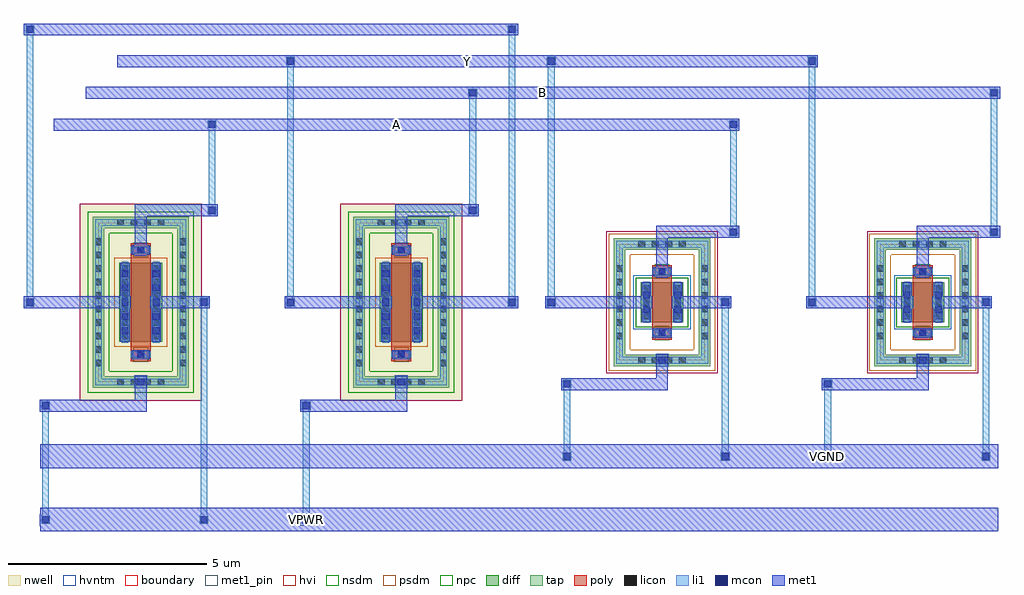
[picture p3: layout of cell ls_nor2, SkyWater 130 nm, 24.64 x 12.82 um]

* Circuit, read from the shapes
.subckt ls_nor2 A B VGND VPWR Y
XM1 VGND A Y VGND sky130_fd_pr__nfet_g5v0d10v5 w=1 l=0.5
XM2 VGND B Y VGND sky130_fd_pr__nfet_g5v0d10v5 w=1 l=0.5
XM3 VPWR A ls_nor2_XMPA_3/D VPWR sky130_fd_pr__pfet_g5v0d10v5 w=2 l=0.5
XM4 ls_nor2_XMPA_3/D B Y VPWR sky130_fd_pr__pfet_g5v0d10v5 w=2 l=0.5
.ends

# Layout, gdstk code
import gdstk
lib = gdstk.Library(unit=1e-6, precision=1e-09)
def R(c, l, rs):  # rectangles x0, y0, x1, y1
    for r in rs: c.add(gdstk.rectangle(r[:2], r[2:], *l))
def A(c, l, x, y, w, h, nx, ny, dx, dy):  # array of equal rectangles
    R(c, l, [(x+i*dx, y+j*dy, x+i*dx+w, y+j*dy+h) for i in range(nx) for j in range(ny)])
nwell = (64, 20)
diff = (65, 20)
tap = (65, 44)
poly = (66, 20)
licon = (66, 44)
li1 = (67, 20)
mcon = (67, 44)
met1_pin = (68, 16)
met1 = (68, 20)
hvi = (75, 20)
nsdm = (93, 44)
psdm = (94, 20)
npc = (95, 20)
hvntm = (125, 20)
boundary = (235, 4)

ls_nor2_xmnb = lib.new_cell('ls_nor2_XMNB')
R(ls_nor2_xmnb, diff, [(-0.54,-0.5,0.54,0.5)])
R(ls_nor2_xmnb, tap, [(-1.22,-1.61,1.22,-1.32), (-1.22,-1.32,-0.93,1.32), (0.93,-1.32,1.22,1.32), (-1.22,1.32,1.22,1.61)])
R(ls_nor2_xmnb, poly, [(-0.25,-0.94,0.25,0.94)])
A(ls_nor2_xmnb, licon, -0.595, -1.55, 0.17, 0.17, 4, 2, 0.34, 2.93)
A(ls_nor2_xmnb, licon, -1.16, -0.935, 0.17, 0.17, 1, 6, 0, 0.34)
A(ls_nor2_xmnb, licon, 0.99, -0.935, 0.17, 0.17, 1, 6, 0, 0.34)
A(ls_nor2_xmnb, licon, -0.48, -0.425, 0.17, 0.17, 1, 3, 0, 0.34)
A(ls_nor2_xmnb, licon, 0.31, -0.425, 0.17, 0.17, 1, 3, 0, 0.34)
R(ls_nor2_xmnb, licon, [(-0.085,-0.86,0.085,-0.69), (-0.085,0.69,0.085,0.86)])
R(ls_nor2_xmnb, li1, [(-0.165,-1.63,0.165,-1.55), (-1.16,-1.55,1.16,-1.38), (-1.16,-1.38,-0.99,1.38), (-0.165,-1.38,0.165,-1.3), (0.99,-1.38,1.16,1.38), (-0.25,-0.86,0.25,-0.69), (-0.48,-0.52,-0.31,0.52), (0.31,-0.52,0.48,0.52), (-0.25,0.69,0.25,0.86), (-1.16,1.38,1.16,1.55)])
R(ls_nor2_xmnb, mcon, [(-0.085,-1.55,0.085,-1.38), (-0.085,-0.86,0.085,-0.69), (-0.48,-0.265,-0.31,-0.095), (0.31,-0.265,0.48,-0.095), (-0.48,0.095,-0.31,0.265), (0.31,0.095,0.48,0.265), (-0.085,0.69,0.085,0.86)])
R(ls_nor2_xmnb, met1, [(-0.15,-1.615,0.15,-1.315), (-0.23,-0.89,0.23,-0.66), (-0.51,-0.5,-0.28,0.5), (0.28,-0.5,0.51,0.5), (-0.23,0.66,0.23,0.89)])
R(ls_nor2_xmnb, hvi, [(-1.405,-1.795,1.405,1.795)])
R(ls_nor2_xmnb, nsdm, [(-0.665,-0.625,0.665,0.625)])
R(ls_nor2_xmnb, psdm, [(-1.345,-1.735,1.345,-1.195), (-1.345,-1.195,-0.805,1.195), (0.805,-1.195,1.345,1.195), (-1.345,1.195,1.345,1.735)])
R(ls_nor2_xmnb, npc, [(-0.185,-0.96,0.185,-0.59), (-0.185,0.59,0.185,0.96)])
R(ls_nor2_xmnb, hvntm, [(-0.725,-0.685,0.725,0.685)])
R(ls_nor2_xmnb, boundary, [(-1.075,-1.465,1.075,1.465)])
ls_nor2_xmnb.add(gdstk.Label('B', (0,-1.465), layer=67, texttype=5))
ls_nor2_xmnb.add(gdstk.Label('D', (-0.395,0), layer=67, texttype=5))
ls_nor2_xmnb.add(gdstk.Label('S', (0.395,0), layer=67, texttype=5))
ls_nor2_xmnb.add(gdstk.Label('G', (0,0.775), layer=67, texttype=5))

ls_nor2_xmna = lib.new_cell('ls_nor2_XMNA')
R(ls_nor2_xmna, diff, [(-0.54,-0.5,0.54,0.5)])
R(ls_nor2_xmna, tap, [(-1.22,-1.61,1.22,-1.32), (-1.22,-1.32,-0.93,1.32), (0.93,-1.32,1.22,1.32), (-1.22,1.32,1.22,1.61)])
R(ls_nor2_xmna, poly, [(-0.25,-0.94,0.25,0.94)])
A(ls_nor2_xmna, licon, -0.595, -1.55, 0.17, 0.17, 4, 2, 0.34, 2.93)
A(ls_nor2_xmna, licon, -1.16, -0.935, 0.17, 0.17, 1, 6, 0, 0.34)
A(ls_nor2_xmna, licon, 0.99, -0.935, 0.17, 0.17, 1, 6, 0, 0.34)
A(ls_nor2_xmna, licon, -0.48, -0.425, 0.17, 0.17, 1, 3, 0, 0.34)
A(ls_nor2_xmna, licon, 0.31, -0.425, 0.17, 0.17, 1, 3, 0, 0.34)
R(ls_nor2_xmna, licon, [(-0.085,-0.86,0.085,-0.69), (-0.085,0.69,0.085,0.86)])
R(ls_nor2_xmna, li1, [(-0.165,-1.63,0.165,-1.55), (-1.16,-1.55,1.16,-1.38), (-1.16,-1.38,-0.99,1.38), (-0.165,-1.38,0.165,-1.3), (0.99,-1.38,1.16,1.38), (-0.25,-0.86,0.25,-0.69), (-0.48,-0.52,-0.31,0.52), (0.31,-0.52,0.48,0.52), (-0.25,0.69,0.25,0.86), (-1.16,1.38,1.16,1.55)])
R(ls_nor2_xmna, mcon, [(-0.085,-1.55,0.085,-1.38), (-0.085,-0.86,0.085,-0.69), (-0.48,-0.265,-0.31,-0.095), (0.31,-0.265,0.48,-0.095), (-0.48,0.095,-0.31,0.265), (0.31,0.095,0.48,0.265), (-0.085,0.69,0.085,0.86)])
R(ls_nor2_xmna, met1, [(-0.15,-1.615,0.15,-1.315), (-0.23,-0.89,0.23,-0.66), (-0.51,-0.5,-0.28,0.5), (0.28,-0.5,0.51,0.5), (-0.23,0.66,0.23,0.89)])
R(ls_nor2_xmna, hvi, [(-1.405,-1.795,1.405,1.795)])
R(ls_nor2_xmna, nsdm, [(-0.665,-0.625,0.665,0.625)])
R(ls_nor2_xmna, psdm, [(-1.345,-1.735,1.345,-1.195), (-1.345,-1.195,-0.805,1.195), (0.805,-1.195,1.345,1.195), (-1.345,1.195,1.345,1.735)])
R(ls_nor2_xmna, npc, [(-0.185,-0.96,0.185,-0.59), (-0.185,0.59,0.185,0.96)])
R(ls_nor2_xmna, hvntm, [(-0.725,-0.685,0.725,0.685)])
R(ls_nor2_xmna, boundary, [(-1.075,-1.465,1.075,1.465)])
ls_nor2_xmna.add(gdstk.Label('B', (0,-1.465), layer=67, texttype=5))
ls_nor2_xmna.add(gdstk.Label('D', (-0.395,0), layer=67, texttype=5))
ls_nor2_xmna.add(gdstk.Label('S', (0.395,0), layer=67, texttype=5))
ls_nor2_xmna.add(gdstk.Label('G', (0,0.775), layer=67, texttype=5))

ls_nor2_xmpb = lib.new_cell('ls_nor2_XMPB')
R(ls_nor2_xmpb, nwell, [(-1.54,-2.485,1.54,2.485)])
R(ls_nor2_xmpb, diff, [(-0.54,-1,0.54,1)])
R(ls_nor2_xmpb, tap, [(-1.21,-2.155,1.21,-1.865), (-1.21,-1.865,-0.92,1.865), (0.92,-1.865,1.21,1.865), (-1.21,1.865,1.21,2.155)])
R(ls_nor2_xmpb, poly, [(-0.25,-1.485,0.25,1.485)])
A(ls_nor2_xmpb, licon, -0.595, -2.095, 0.17, 0.17, 4, 2, 0.34, 4.02)
A(ls_nor2_xmpb, licon, -1.15, -1.615, 0.17, 0.17, 1, 10, 0, 0.34)
A(ls_nor2_xmpb, licon, 0.98, -1.615, 0.17, 0.17, 1, 10, 0, 0.34)
A(ls_nor2_xmpb, licon, -0.48, -0.935, 0.17, 0.17, 1, 6, 0, 0.34)
A(ls_nor2_xmpb, licon, 0.31, -0.935, 0.17, 0.17, 1, 6, 0, 0.34)
R(ls_nor2_xmpb, licon, [(-0.085,-1.405,0.085,-1.235), (-0.085,1.235,0.085,1.405)])
R(ls_nor2_xmpb, li1, [(-0.165,-2.175,0.165,-2.095), (-1.15,-2.095,1.15,-1.925), (-1.15,-1.925,-0.98,1.925), (-0.165,-1.925,0.165,-1.845), (0.98,-1.925,1.15,1.925), (-0.25,-1.405,0.25,-1.235), (-0.48,-1.02,-0.31,1.02), (0.31,-1.02,0.48,1.02), (-0.25,1.235,0.25,1.405), (-1.15,1.925,1.15,2.095)])
A(ls_nor2_xmpb, mcon, -0.48, -0.805, 0.17, 0.17, 1, 5, 0, 0.36)
A(ls_nor2_xmpb, mcon, 0.31, -0.805, 0.17, 0.17, 1, 5, 0, 0.36)
R(ls_nor2_xmpb, mcon, [(-0.085,-2.095,0.085,-1.925), (-0.085,-1.405,0.085,-1.235), (-0.085,1.235,0.085,1.405)])
R(ls_nor2_xmpb, met1, [(-0.15,-2.16,0.15,-1.86), (-0.23,-1.435,0.23,-1.205), (-0.51,-1,-0.28,1), (0.28,-1,0.51,1), (-0.23,1.205,0.23,1.435)])
R(ls_nor2_xmpb, hvi, [(-1.54,-2.485,1.54,2.485)])
R(ls_nor2_xmpb, nsdm, [(-1.335,-2.28,1.335,-1.74), (-1.335,-1.74,-0.795,1.74), (0.795,-1.74,1.335,1.74), (-1.335,1.74,1.335,2.28)])
R(ls_nor2_xmpb, psdm, [(-0.665,-1.125,0.665,1.125)])
R(ls_nor2_xmpb, npc, [(-0.185,-1.505,0.185,-1.135), (-0.185,1.135,0.185,1.505)])
R(ls_nor2_xmpb, boundary, [(-1.065,-2.01,1.065,2.01)])
ls_nor2_xmpb.add(gdstk.Label('B', (0,-2.01), layer=67, texttype=5))
ls_nor2_xmpb.add(gdstk.Label('D', (-0.395,0), layer=67, texttype=5))
ls_nor2_xmpb.add(gdstk.Label('S', (0.395,0), layer=67, texttype=5))
ls_nor2_xmpb.add(gdstk.Label('G', (0,1.32), layer=67, texttype=5))

ls_nor2_xmpa = lib.new_cell('ls_nor2_XMPA')
R(ls_nor2_xmpa, nwell, [(-1.54,-2.485,1.54,2.485)])
R(ls_nor2_xmpa, diff, [(-0.54,-1,0.54,1)])
R(ls_nor2_xmpa, tap, [(-1.21,-2.155,1.21,-1.865), (-1.21,-1.865,-0.92,1.865), (0.92,-1.865,1.21,1.865), (-1.21,1.865,1.21,2.155)])
R(ls_nor2_xmpa, poly, [(-0.25,-1.485,0.25,1.485)])
A(ls_nor2_xmpa, licon, -0.595, -2.095, 0.17, 0.17, 4, 2, 0.34, 4.02)
A(ls_nor2_xmpa, licon, -1.15, -1.615, 0.17, 0.17, 1, 10, 0, 0.34)
A(ls_nor2_xmpa, licon, 0.98, -1.615, 0.17, 0.17, 1, 10, 0, 0.34)
A(ls_nor2_xmpa, licon, -0.48, -0.935, 0.17, 0.17, 1, 6, 0, 0.34)
A(ls_nor2_xmpa, licon, 0.31, -0.935, 0.17, 0.17, 1, 6, 0, 0.34)
R(ls_nor2_xmpa, licon, [(-0.085,-1.405,0.085,-1.235), (-0.085,1.235,0.085,1.405)])
R(ls_nor2_xmpa, li1, [(-0.165,-2.175,0.165,-2.095), (-1.15,-2.095,1.15,-1.925), (-1.15,-1.925,-0.98,1.925), (-0.165,-1.925,0.165,-1.845), (0.98,-1.925,1.15,1.925), (-0.25,-1.405,0.25,-1.235), (-0.48,-1.02,-0.31,1.02), (0.31,-1.02,0.48,1.02), (-0.25,1.235,0.25,1.405), (-1.15,1.925,1.15,2.095)])
A(ls_nor2_xmpa, mcon, -0.48, -0.805, 0.17, 0.17, 1, 5, 0, 0.36)
A(ls_nor2_xmpa, mcon, 0.31, -0.805, 0.17, 0.17, 1, 5, 0, 0.36)
R(ls_nor2_xmpa, mcon, [(-0.085,-2.095,0.085,-1.925), (-0.085,-1.405,0.085,-1.235), (-0.085,1.235,0.085,1.405)])
R(ls_nor2_xmpa, met1, [(-0.15,-2.16,0.15,-1.86), (-0.23,-1.435,0.23,-1.205), (-0.51,-1,-0.28,1), (0.28,-1,0.51,1), (-0.23,1.205,0.23,1.435)])
R(ls_nor2_xmpa, hvi, [(-1.54,-2.485,1.54,2.485)])
R(ls_nor2_xmpa, nsdm, [(-1.335,-2.28,1.335,-1.74), (-1.335,-1.74,-0.795,1.74), (0.795,-1.74,1.335,1.74), (-1.335,1.74,1.335,2.28)])
R(ls_nor2_xmpa, psdm, [(-0.665,-1.125,0.665,1.125)])
R(ls_nor2_xmpa, npc, [(-0.185,-1.505,0.185,-1.135), (-0.185,1.135,0.185,1.505)])
R(ls_nor2_xmpa, boundary, [(-1.065,-2.01,1.065,2.01)])
ls_nor2_xmpa.add(gdstk.Label('B', (0,-2.01), layer=67, texttype=5))
ls_nor2_xmpa.add(gdstk.Label('D', (-0.395,0), layer=67, texttype=5))
ls_nor2_xmpa.add(gdstk.Label('S', (0.395,0), layer=67, texttype=5))
ls_nor2_xmpa.add(gdstk.Label('G', (0,1.32), layer=67, texttype=5))

ls_nor2 = lib.new_cell('ls_nor2')
A(ls_nor2, li1, 6.74, 6.595, 0.17, 5.865, 3, 1, 6.58, 0)
A(ls_nor2, li1, 6.715, 12.46, 0.22, 0.22, 3, 1, 6.58, 0)
R(ls_nor2, li1, [(0.53,0.89,0.75,1.11), (4.525,0.89,4.745,1.11), (7.11,0.89,7.33,1.11), (0.555,1.11,0.725,3.765), (4.55,1.11,4.72,6.375), (7.135,1.11,7.305,3.765), (13.69,2.49,13.91,2.71), (17.685,2.49,17.905,2.71), (20.27,2.49,20.49,2.71), (24.265,2.49,24.485,2.71), (13.715,2.71,13.885,4.31), (17.71,2.71,17.88,6.375), (20.295,2.71,20.465,4.31), (24.29,2.71,24.46,6.375), (0.53,3.765,0.75,3.985), (7.11,3.765,7.33,3.985), (13.69,4.31,13.91,4.53), (20.27,4.31,20.49,4.53), (0.135,6.375,0.355,6.595), (4.525,6.375,4.745,6.595), (6.715,6.375,6.935,6.595), (12.305,6.375,12.525,6.595), (13.295,6.375,13.515,6.595), (17.685,6.375,17.905,6.595), (19.875,6.375,20.095,6.595), (24.265,6.375,24.485,6.595), (0.16,6.595,0.33,13.26), (12.33,6.595,12.5,13.26), (17.89,8.15,18.11,8.37), (24.47,8.15,24.69,8.37), (17.915,8.37,18.085,10.86), (24.495,8.37,24.665,11.66), (4.73,8.695,4.95,8.915), (11.31,8.695,11.53,8.915), (4.755,8.915,4.925,10.86), (11.335,8.915,11.505,11.66), (4.73,10.86,4.95,11.08), (17.89,10.86,18.11,11.08), (11.31,11.66,11.53,11.88), (24.47,11.66,24.69,11.88), (0.135,13.26,0.355,13.48), (12.305,13.26,12.525,13.48)])
A(ls_nor2, mcon, 6.74, 12.485, 0.17, 0.17, 3, 1, 6.58, 0)
R(ls_nor2, mcon, [(0.555,0.915,0.725,1.085), (4.55,0.915,4.72,1.085), (7.135,0.915,7.305,1.085), (13.715,2.515,13.885,2.685), (17.71,2.515,17.88,2.685), (20.295,2.515,20.465,2.685), (24.29,2.515,24.46,2.685), (0.555,3.79,0.725,3.96), (7.135,3.79,7.305,3.96), (13.715,4.335,13.885,4.505), (20.295,4.335,20.465,4.505), (0.16,6.4,0.33,6.57), (4.55,6.4,4.72,6.57), (6.74,6.4,6.91,6.57), (12.33,6.4,12.5,6.57), (13.32,6.4,13.49,6.57), (17.71,6.4,17.88,6.57), (19.9,6.4,20.07,6.57), (24.29,6.4,24.46,6.57), (17.915,8.175,18.085,8.345), (24.495,8.175,24.665,8.345), (4.755,8.72,4.925,8.89), (11.335,8.72,11.505,8.89), (4.755,10.885,4.925,11.055), (17.915,10.885,18.085,11.055), (11.335,11.685,11.505,11.855), (24.495,11.685,24.665,11.855), (0.16,13.285,0.33,13.455), (12.33,13.285,12.5,13.455)])
R(ls_nor2, met1_pin, [(7.07,0.85,7.37,1.15), (20.23,2.45,20.53,2.75), (0.85,10.82,18.15,11.12), (1.65,11.62,24.73,11.92), (2.45,12.42,20.135,12.72)])
R(ls_nor2, met1, [(0.5,0.7,24.68,0.85), (0.49,0.85,24.68,1.15), (0.5,1.15,24.68,1.3), (0.5,2.3,24.68,2.9), (0.49,3.725,3.19,4.025), (7.07,3.725,9.77,4.025), (2.89,4.025,3.19,4.625), (9.47,4.025,9.77,4.625), (13.65,4.27,16.35,4.57), (20.23,4.27,22.93,4.57), (16.05,4.57,16.35,5.17), (22.63,4.57,22.93,5.17), (0.095,6.335,2.795,6.635), (3.285,6.335,4.785,6.635), (6.675,6.335,9.375,6.635), (9.865,6.335,12.565,6.635), (13.255,6.335,15.955,6.635), (16.445,6.335,17.945,6.635), (19.835,6.335,22.535,6.635), (23.025,6.335,24.525,6.635), (16.05,7.11,16.35,8.11), (22.63,7.11,22.93,8.11), (2.89,7.655,3.19,8.655), (9.47,7.655,9.77,8.655), (16.05,8.11,18.15,8.41), (22.63,8.11,24.73,8.41), (2.89,8.655,4.99,8.955), (9.47,8.655,11.57,8.955), (0.85,10.82,18.15,11.12), (1.65,11.62,24.73,11.92), (2.45,12.42,20.135,12.72), (0.095,13.22,12.565,13.52)])
ls_nor2.add(gdstk.Reference(ls_nor2_xmnb, (22.78,6.485)))
ls_nor2.add(gdstk.Reference(ls_nor2_xmna, (16.2,6.485)))
ls_nor2.add(gdstk.Reference(ls_nor2_xmpb, (9.62,6.485)))
ls_nor2.add(gdstk.Reference(ls_nor2_xmpa, (3.04,6.485)))
ls_nor2.add(gdstk.Label('VPWR', (7.22,1), layer=68, texttype=5))
ls_nor2.add(gdstk.Label('VGND', (20.38,2.6), layer=68, texttype=5))
ls_nor2.add(gdstk.Label('A', (9.5,10.97), layer=68, texttype=5))
ls_nor2.add(gdstk.Label('B', (13.19,11.77), layer=68, texttype=5))
ls_nor2.add(gdstk.Label('Y', (11.292,12.57), layer=68, texttype=5))

lib.write_gds('ls_nor2.gds')
